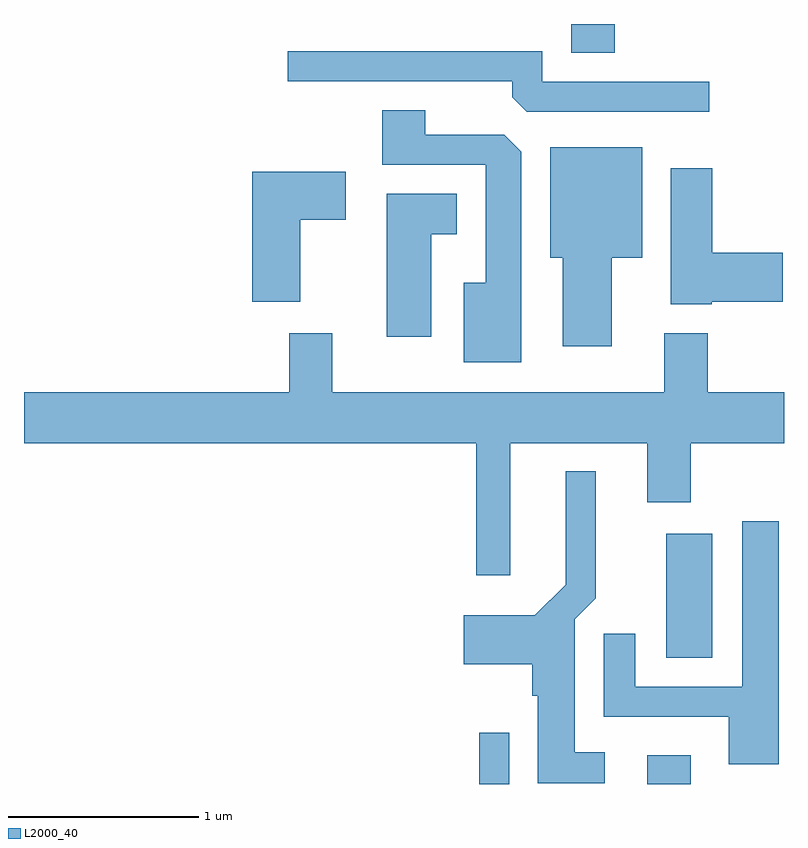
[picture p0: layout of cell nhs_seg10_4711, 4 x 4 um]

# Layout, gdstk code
import gdstk
lib = gdstk.Library(unit=1e-6, precision=1e-09)
def R(c, l, rs):  # rectangles x0, y0, x1, y1
    for r in rs: c.add(gdstk.rectangle(r[:2], r[2:], *l))
def P(c, l, *ps):  # polygons
    for p in ps: c.add(gdstk.Polygon(p, *l))
L2000_40 = (2000, 40)

nhs_seg10_4711 = lib.new_cell('nhs_seg10_4711')
R(nhs_seg10_4711, L2000_40, [(326.006,2156.522,326.164,2156.793), (326.891,2156.522,327.119,2156.674), (326.991,2157.186,327.234,2157.839), (326.491,2160.371,326.719,2160.522)])
P(nhs_seg10_4711, L2000_40, [(327.218,2160.219),(326.339,2160.219),(326.339,2160.379),(324.998,2160.379),(324.998,2160.221),(326.181,2160.221),(326.181,2160.137),(326.257,2160.061),(327.218,2160.061)],
  [(326.229,2159.849),(326.139,2159.939),(325.724,2159.939),(325.724,2160.069),(325.496,2160.069),(325.496,2159.781),(326.041,2159.781),(326.041,2159.159),(325.926,2159.159),(325.926,2158.741),(326.229,2158.741)],
  [(326.704,2159.291),(326.864,2159.291),(326.864,2159.874),(326.381,2159.874),(326.381,2159.291),(326.446,2159.291),(326.446,2158.826),(326.704,2158.826)],
  [(327.23,2159.061),(327.604,2159.061),(327.604,2159.319),(327.234,2159.319),(327.234,2159.764),(327.016,2159.764),(327.016,2159.046),(327.23,2159.046)],
  [(325.064,2159.491),(325.304,2159.491),(325.304,2159.744),(324.811,2159.744),(324.811,2159.061),(325.064,2159.061)],
  [(325.754,2159.416),(325.889,2159.416),(325.889,2159.629),(325.521,2159.629),(325.521,2158.876),(325.754,2158.876)],
  [(326.169,2158.316),(326.891,2158.316),(326.891,2158.006),(327.119,2158.006),(327.119,2158.316),(327.611,2158.316),(327.611,2158.584),(327.209,2158.584),(327.209,2158.894),(326.981,2158.894),(326.981,2158.584),(325.234,2158.584),(325.234,2158.894),(325.006,2158.894),(325.006,2158.584),(323.611,2158.584),(323.611,2158.316),(325.991,2158.316),(325.991,2157.621),(326.169,2157.621)],
  [(326.668,2156.689),(326.509,2156.689),(326.509,2157.389),(326.619,2157.499),(326.619,2158.168),(326.461,2158.168),(326.461,2157.572),(326.299,2157.409),(325.926,2157.409),(325.926,2157.151),(326.286,2157.151),(326.286,2156.986),(326.316,2156.986),(326.316,2156.526),(326.668,2156.526)],
  [(327.584,2157.904),(327.391,2157.904),(327.391,2157.034),(326.829,2157.034),(326.829,2157.313),(326.661,2157.313),(326.661,2156.876),(327.321,2156.876),(327.321,2156.626),(327.584,2156.626)])

lib.write_gds('nhs_seg10_4711.gds')
